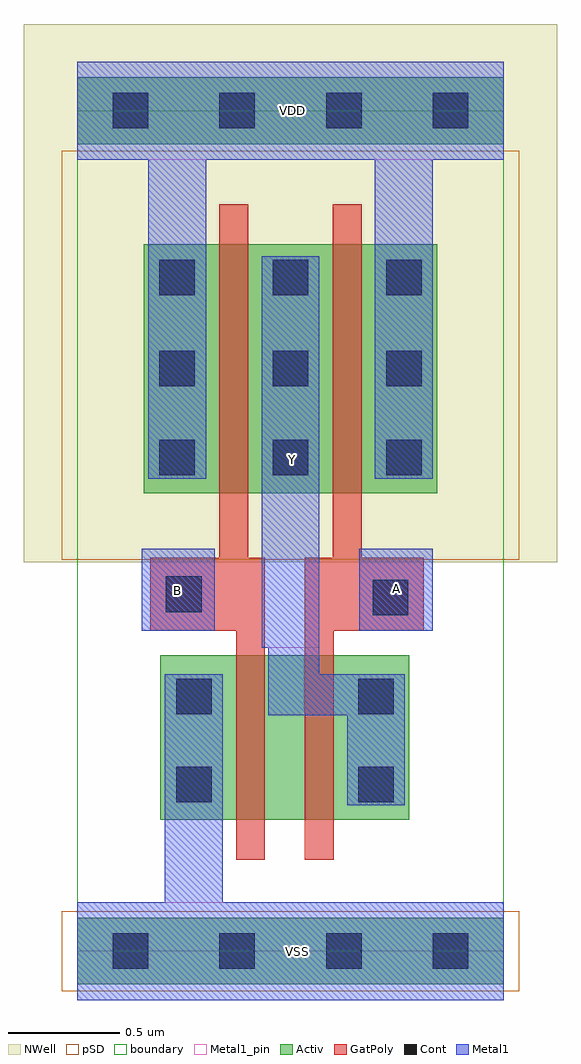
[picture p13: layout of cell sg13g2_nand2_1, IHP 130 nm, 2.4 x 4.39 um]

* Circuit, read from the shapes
.subckt sg13g2_nand2_1 A B VDD VSS Y
XM1 n1 B VSS VSS sg13_lv_nmos w=0.74u l=0.13u
XM2 Y A n1 VSS sg13_lv_nmos w=0.74u l=0.13u
XM3 Y B VDD VDD sg13_lv_pmos w=1.12u l=0.13u
XM4 VDD A Y VDD sg13_lv_pmos w=1.12u l=0.13u
.ends

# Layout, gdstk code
import gdstk
lib = gdstk.Library(unit=1e-6, precision=1e-09)
def R(c, l, rs):  # rectangles x0, y0, x1, y1
    for r in rs: c.add(gdstk.rectangle(r[:2], r[2:], *l))
def A(c, l, x, y, w, h, nx, ny, dx, dy):  # array of equal rectangles
    R(c, l, [(x+i*dx, y+j*dy, x+i*dx+w, y+j*dy+h) for i in range(nx) for j in range(ny)])
def P(c, l, *ps):  # polygons
    for p in ps: c.add(gdstk.Polygon(p, *l))
Activ = (1, 0)
GatPoly = (5, 0)
Cont = (6, 0)
Metal1 = (8, 0)
Metal1_pin = (8, 2)
pSD = (14, 0)
NWell = (31, 0)
boundary = (189, 4)

sg13g2_nand2_1 = lib.new_cell('sg13g2_nand2_1')
R(sg13g2_nand2_1, Activ, [(0,-0.15,1.92,0.15), (0.375,0.59,1.495,1.33), (0.3,2.06,1.62,3.18), (0,3.63,1.92,3.93)])
P(sg13g2_nand2_1, GatPoly, [(0.845,1.77),(0.77,1.77),(0.77,3.36),(0.64,3.36),(0.64,1.77),(0.33,1.77),(0.33,1.44),(0.715,1.44),(0.715,0.41),(0.845,0.41)],
  [(1.56,1.77),(1.28,1.77),(1.28,3.36),(1.15,3.36),(1.15,1.77),(1.025,1.77),(1.025,0.41),(1.155,0.41),(1.155,1.44),(1.56,1.44)])
A(sg13g2_nand2_1, Cont, 0.37, 2.14, 0.16, 0.16, 3, 2, 0.51, 0.4)
A(sg13g2_nand2_1, Cont, 0.37, 2.95, 0.16, 0.16, 3, 1, 0.51, 0)
R(sg13g2_nand2_1, Cont, [(0.16,-0.08,0.32,0.08), (0.16,-0.08,0.32,0.08), (0.64,-0.08,0.8,0.08), (0.64,-0.08,0.8,0.08), (1.12,-0.08,1.28,0.08), (1.12,-0.08,1.28,0.08), (1.6,-0.08,1.76,0.08), (1.6,-0.08,1.76,0.08), (0.445,0.67,0.605,0.83), (1.265,0.67,1.425,0.83), (0.445,1.065,0.605,1.225), (1.265,1.065,1.425,1.225), (1.33,1.51,1.49,1.67), (0.4,1.525,0.56,1.685), (0.16,3.7,0.32,3.86), (0.16,3.7,0.32,3.86), (0.64,3.7,0.8,3.86), (0.64,3.7,0.8,3.86), (1.12,3.7,1.28,3.86), (1.12,3.7,1.28,3.86), (1.6,3.7,1.76,3.86), (1.6,3.7,1.76,3.86)])
R(sg13g2_nand2_1, Metal1, [(0.29,1.44,0.62,1.81), (1.27,1.44,1.6,1.81)])
P(sg13g2_nand2_1, Metal1, [(0,3.56),(0,4),(1.92,4),(1.92,3.56),(1.6,3.56),(1.6,2.125),(1.34,2.125),(1.34,3.56),(0.58,3.56),(0.58,2.125),(0.32,2.125),(0.32,3.56)],
  [(0,-0.22),(0,0.22),(0.395,0.22),(0.395,1.245),(0.655,1.245),(0.655,0.22),(1.92,0.22),(1.92,-0.22)],
  [(1.475,1.245),(1.09,1.245),(1.09,3.125),(0.83,3.125),(0.83,1.365),(0.86,1.365),(0.86,1.06),(1.215,1.06),(1.215,0.655),(1.475,0.655)])
R(sg13g2_nand2_1, Metal1_pin, [(0,-0.22,1.92,0.22), (0.83,1.365,1.09,3.125), (0.29,1.44,0.62,1.81), (1.27,1.44,1.6,1.81), (0,3.56,1.92,4)])
R(sg13g2_nand2_1, pSD, [(-0.07,-0.18,1.99,0.18), (-0.07,1.76,1.99,3.6)])
R(sg13g2_nand2_1, NWell, [(-0.24,1.75,2.16,4.17)])
R(sg13g2_nand2_1, boundary, [(0,0,1.92,3.78)])
sg13g2_nand2_1.add(gdstk.Label('Y', (0.97,2.21), layer=8, texttype=25))
sg13g2_nand2_1.add(gdstk.Label('VDD', (0.97,3.78), layer=8, texttype=25))
sg13g2_nand2_1.add(gdstk.Label('A', (1.435,1.63), layer=8, texttype=25))
sg13g2_nand2_1.add(gdstk.Label('VSS', (0.99,0), layer=8, texttype=25))
sg13g2_nand2_1.add(gdstk.Label('B', (0.45,1.62), layer=8, texttype=25))

lib.write_gds('sg13g2_nand2_1.gds')
